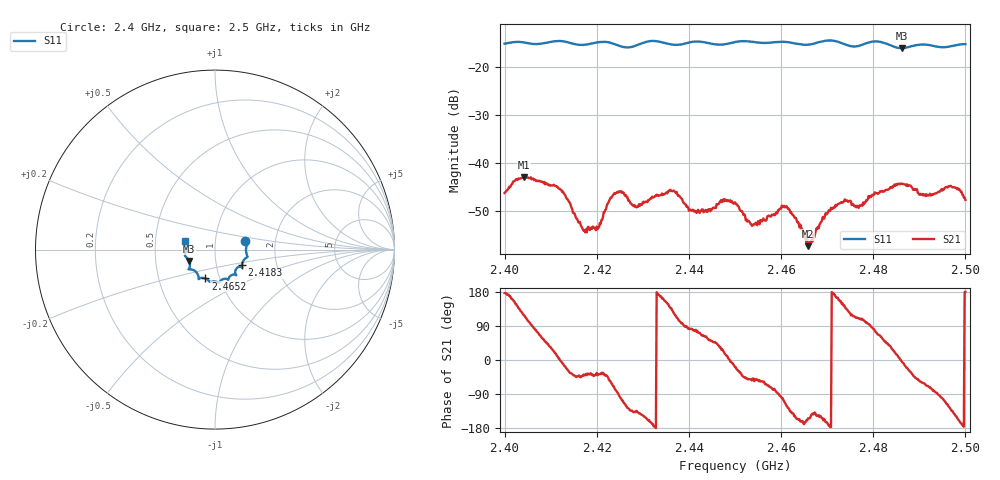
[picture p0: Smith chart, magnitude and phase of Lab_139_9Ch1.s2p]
# Hz S RI R 50
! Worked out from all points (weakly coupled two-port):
!   601 points, 2.4 GHz to 2.5 GHz, reference 50 ohm
!   highest |S21| = -42.85 dB at 2.4042 GHz (marker M1); lowest = -57.2 dB at 2.4658 GHz (marker M2)
!   lowest |S11| = -16.1 dB at 2.4862 GHz (marker M3), VSWR 1.37, Z = 37.2 - j4.86 ohm
!   |S11| at or under -10 dB: start of sweep to end of sweep
!   S12 and S22 are empty: the file has one direction only
!   S11 on the Smith chart (normalised r, x): 2.4 GHz: 1.40, +0.13; 2.4183 GHz: 1.33, -0.24; 2.4652 GHz: 0.85, -0.28; 2.5 GHz: 0.71, +0.07
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2.4e9  0.1682 0.0465  -0.0049 0.000295  0 0  0 0
2.404167e9  0.178 0.0256  -0.00346 0.00631  0 0  0 0
2.411833e9  0.1817 -0.0407  0.00542 0.000417  0 0  0 0
2.416667e9  0.1551 -0.0679  0.00159 -0.00152  0 0  0 0
2.418333e9  0.1499 -0.0866  0.00164 -0.00129  0 0  0 0
2.420333e9  0.1509 -0.0995  0.00168 -0.00133  0 0  0 0
2.424333e9  0.1401 -0.0951  0.00058 -0.00494  0 0  0 0
2.4285e9  0.1127 -0.123  -0.00261 -0.00239  0 0  0 0
2.433333e9  0.1173 -0.1415  -0.00455 0.000471  0 0  0 0
2.436833e9  0.0924 -0.1425  -0.00264 0.00437  0 0  0 0
2.441833e9  0.0737 -0.1684  0.000733 0.00307  0 0  0 0
2.45e9  0.0257 -0.1797  0.00371 -0.00127  0 0  0 0
2.453833e9  0.0153 -0.1817  0.00147 -0.00171  0 0  0 0
2.461167e9  -0.03 -0.1789  -0.00179 -0.0031  0 0  0 0
2.465167e9  -0.0542 -0.1609  -0.00167 -0.000456  0 0  0 0
2.465833e9  -0.0617 -0.1586  -0.00123 -0.000604  0 0  0 0
2.466667e9  -0.0708 -0.1574  -0.00121 -0.00091  0 0  0 0
2.472333e9  -0.091 -0.1586  -0.00361 0.00103  0 0  0 0
2.483333e9  -0.1412 -0.0968  0.00414 0.00338  0 0  0 0
2.486167e9  -0.1431 -0.0637  0.00611 -0.000348  0 0  0 0
2.497e9  -0.1625 0.0269  -0.00401 -0.00409  0 0  0 0
2.5e9  -0.1661 0.0471  -0.00415 1.92e-05  0 0  0 0
